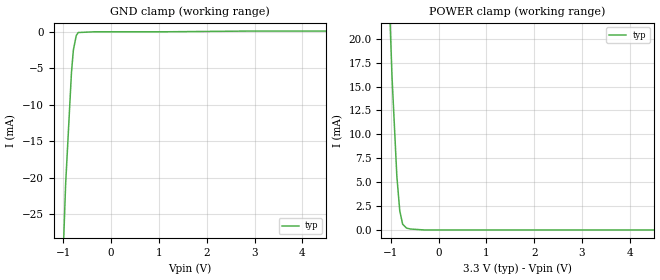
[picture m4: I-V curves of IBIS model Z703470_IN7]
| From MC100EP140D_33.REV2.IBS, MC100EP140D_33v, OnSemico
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| (C) COPYRIGHT 1993-2001
| MENTOR GRAPHICS CORPORATION
| ICX STANDARD LIBRARY, ICX PROJECT MODELING,
| ICX CUSTOM MODELING, ICX VENDOR MODEL
| ALL RIGHTS RESERVED.
| THE FOLLOWING ARE TRADEMARKS OR SERVICE MARKS OF
| MENTOR GRAPHICS CORPORATION:ICX (R), ICX STANDARD
| LIBRARY(R), ICX PROJECT MODELING(R), ICX CUSTOM
| MODELING(R), qualityIBIS(TM), MODELVIEWER(TM),
| AND MODELEDITOR(TM)
| ALL COPIES OF SOFTWARE, INCLUDING BUT NOT LIMITED TO
| ANY MODIFICATIONS, ENHANCEMENTS OR DERIVATIVE WORKS,
| MUST CONTAIN ALL MENTOR GRAPHICS CORPORATION'S
| NOTICES AND LEGENDS, INCLUDING THOSE EMBEDDED IN
| SOFTWARE AND THOSE AFFIXED TO SOFTWARE MEDIUM
| AND CONTAINER, AS RECEIVED FROM MENTOR GRAPHICS
| CORPORATION.
| Model Application Version 1.89 2/18/99.
[Model] Z703470_IN7
Model_type Input_ECL
Vinl = 1.670V
Vinh = 2.075V
C_comp 4.000pF NA NA
| variable typ   min   max
[Voltage Range] 3.300V NA NA
[GND Clamp Reference] 0.000V NA NA
[POWER Clamp Reference] 3.300V NA NA
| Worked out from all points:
|   GND clamp passes 1 mA (typ) near -0.75 V on its own axis
|   POWER clamp passes 1 mA (typ) near -0.77 V on its own axis
[GND Clamp]
-3.3V     -546.7mA   NA         NA
-1.095V   -47.4mA    NA         NA
-953mV    -20.9mA    NA         NA
-831mV    -5.6mA     NA         NA
-791mV    -2.5mA     NA         NA
-730mV    -500uA     NA         NA
-689mV    -100uA     NA         NA
-344.5mV  0A         NA         NA
1.125V    0A         NA         NA
2.899V    100uA      NA         NA
6.6V      100uA      NA         NA
[POWER Clamp]
-3.3V     430.3mA    NA         NA
-1.423V   86.2mA     NA         NA
-1.179V   44.7mA     NA         NA
-976mV    16mA       NA         NA
-875mV    5.6mA      NA         NA
-814mV    2mA        NA         NA
-754mV    600uA      NA         NA
-673mV    200uA      NA         NA
-592mV    100uA      NA         NA
-296mV    0A         NA         NA
6.6V      0A         NA         NA
